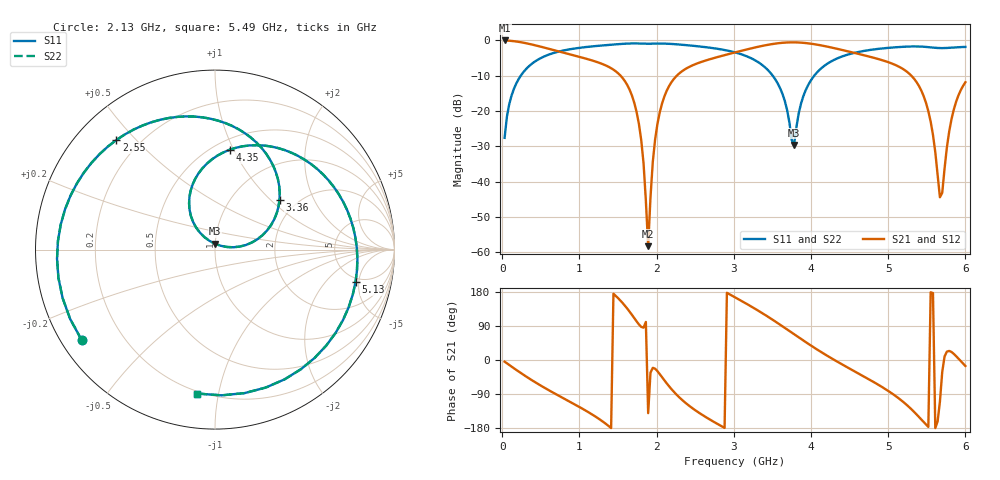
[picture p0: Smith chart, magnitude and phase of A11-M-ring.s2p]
! yapnr Order 0 O0-M: O0-M A11 RING M (ring, family M)
! stackup OSHPARK-4L-EM528, nominal parameters; geometry of the OSHPARK-4L-FR408HR design
! model: 2D quasi-static RLGC (Djordjevic-Sarkar, Huray roughness, Wheeler loss); generated by python -m yapnr.rf.coupons expected --stackup OSHPARK-4L-FR408HR --upload M
! reference planes 10 mm from each end; 50 ohm (from the M line's Zc)
# GHz S DB R 50
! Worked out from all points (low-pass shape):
!   200 points, 30 MHz to 6 GHz, reference 50 ohm
!   highest |S21| = -0.02 dB at 30 MHz (marker M1); lowest = -58.3 dB at 1.89 GHz (marker M2)
!   |S21| within 3 dB of the highest: start of sweep to 713 MHz; 3.085 GHz to 4.463 GHz (1.378 GHz wide, 36.5 % of centre)
!   lowest |S11| = -29.7 dB at 3.78 GHz (marker M3), VSWR 1.07, Z = 49.8 + j3.28 ohm
!   |S11| at or under -10 dB: start of sweep to 239.5 MHz; 3.503 GHz to 4.042 GHz (538.7 MHz wide, 14.3 % of centre)
!   |S22| runs from -29.7 to -0.9 dB; largest |S21 - S12| = 0
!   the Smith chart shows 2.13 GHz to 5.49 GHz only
!   S11 on the Smith chart (normalised r, x): 2.13 GHz: 0.06, -0.31; 2.55 GHz: 0.12, +0.44; 3.36 GHz: 1.63, +1.14; 4.35 GHz: 0.59, +0.96; 5.13 GHz: 4.41, -4.53; 5.49 GHz: 0.19, -0.87
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0.03  -27.61 -93.0  -0.02 -4.4  -0.02 -4.4  -27.61 -93.0
0.3  -8.31 -132.2  -0.77 -42.4  -0.77 -42.4  -8.31 -132.2
1.05  -1.97 139.8  -4.97 -129.9  -4.97 -129.9  -1.97 139.8
1.44  -1.17 83.6  -8.29 175.0  -8.29 175.0  -1.17 83.6
1.68  -0.87 23.1  -15.64 119.1  -15.64 119.1  -0.87 23.1
1.8  -0.90 -20.9  -28.23 87.4  -28.23 87.4  -0.90 -20.9
1.89  -0.95 -57.8  -58.30 -140.3  -58.30 -140.3  -0.95 -57.8
1.95  -0.94 -82.4  -34.38 -20.6  -34.38 -20.6  -0.94 -82.4
2.04  -0.91 -116.7  -20.39 -37.2  -20.39 -37.2  -0.91 -116.7
2.13  -0.94 -145.9  -14.28 -61.6  -14.28 -61.6  -0.94 -145.9
2.55  -1.71 132.0  -6.33 -139.5  -6.33 -139.5  -1.71 132.0
3.03  -3.49 75.5  -3.33 163.8  -3.33 163.8  -3.49 75.5
3.36  -6.85 37.7  -1.60 124.7  -1.60 124.7  -6.85 37.7
3.78  -29.65 91.0  -0.56 68.1  -0.56 68.1  -29.65 91.0
4.02  -10.63 119.4  -1.00 35.3  -1.00 35.3  -10.63 119.4
4.35  -5.00 81.7  -2.44 -5.5  -2.44 -5.5  -5.00 81.7
5.01  -2.10 4.8  -6.24 -82.9  -6.24 -82.9  -2.10 4.8
5.13  -1.90 -13.1  -7.35 -100.2  -7.35 -100.2  -1.90 -13.1
5.49  -1.85 -97.0  -17.73 -170.7  -17.73 -170.7  -1.85 -97.0
5.67  -2.18 -164.6  -44.45 -110.0  -44.45 -110.0  -2.18 -164.6
5.82  -2.05 137.0  -22.32 21.1  -22.32 21.1  -2.05 137.0
6  -1.86 82.1  -11.86 -15.8  -11.86 -15.8  -1.86 82.1
